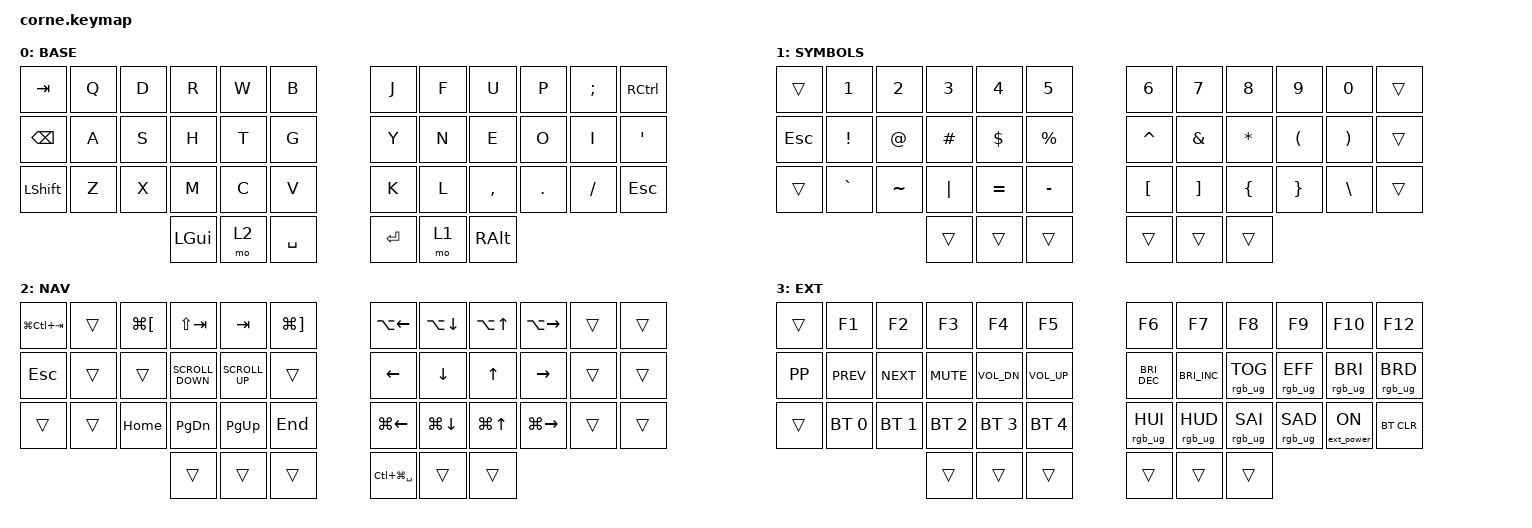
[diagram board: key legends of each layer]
#include <behaviors.dtsi>
#include <dt-bindings/zmk/bt.h>
#include <dt-bindings/zmk/ext_power.h>
#include <dt-bindings/zmk/keys.h>
#include <dt-bindings/zmk/rgb.h>

&led_strip {
    chain-length = <27>;

    // 21 backlight + 6 glowlight
};

#define TAPPING_TERM 200

/ {
    behaviors {
        /*
    * td_lock groups locking functions into one key:
    *  - tap once to lock the host
    *  - tap twice to put the host to sleep
    */

        td_lock: tap_dance_lock {
            compatible = "zmk,behavior-tap-dance";
            label = "TAP_DANCE_LOCK";
            #binding-cells = <0>;
            tapping-term-ms = <TAPPING_TERM>;
            bindings = <&kp LG(LC(Q))>, <&kp LG(LA(C_EJECT))>;
        };
    };

    combos {
        compatible = "zmk,combos";

        Clear_BLE_Profile {
            bindings = <&bt BT_CLR>;
            key-positions = <0 41 5>;
            layers = <0>;
        };

        // Clearing every profile is unrecoverable without re-pairing each host,
        // so it needs three keys held on EXT rather than a single keypress.
        Clear_All_BLE_Profiles {
            bindings = <&bt BT_CLR_ALL>;
            key-positions = <0 5 11>;
            layers = <3>;
        };

        Space {
            bindings = <&kp SPACE>;
            key-positions = <29 28>;
            layers = <0>;
        };

        Enter {
            bindings = <&kp ENTER>;
            key-positions = <17 16>;
            layers = <0>;
        };

        Capslock {
            bindings = <&kp CLCK>;
            key-positions = <5 6>;
            layers = <0>;
        };
    };

    macros {
        git_status: git_status {
            compatible = "zmk,behavior-macro";
            #binding-cells = <0>;
            bindings = <&kp G &kp I &kp T &kp SPACE &kp S &kp T &kp A &kp T &kp U &kp S>;
            label = "GIT_STATUS";
        };

        git_commit_all: git_commit_all {
            compatible = "zmk,behavior-macro";
            #binding-cells = <0>;
            bindings = <&kp G &kp I &kp T &kp SPACE &kp C &kp O &kp M &kp M &kp I &kp T &kp SPACE &kp MINUS &kp A &kp MINUS &kp M &kp SPACE &kp DQT &kp DQT &kp LEFT_ARROW>;
            label = "GIT_COMMIT";
        };
    };

    keymap {
        compatible = "zmk,keymap";

        base_layer {
            label = "BASE";
            bindings = <
&kp TAB         &kp Q  &kp D  &kp R         &kp W  &kp B        &kp J      &kp F  &kp U          &kp P    &kp SEMICOLON  &kp RCTRL
&kp BACKSPACE   &kp A  &kp S  &kp H         &kp T  &kp G        &kp Y      &kp N  &kp E          &kp O    &kp I          &kp SINGLE_QUOTE
&kp LEFT_SHIFT  &kp Z  &kp X  &kp M         &kp C  &kp V        &kp K      &kp L  &kp COMMA      &kp DOT  &kp SLASH      &kp ESC
                              &kp LEFT_GUI  &mo 2  &kp SPACE    &kp ENTER  &mo 1  &kp RIGHT_ALT
            >;
        };

        symbols_layer {
            label = "SYMBOLS";
            bindings = <
&trans   &kp N1     &kp N2     &kp N3    &kp N4     &kp N5       &kp N6            &kp N7             &kp N8          &kp N9           &kp N0         &trans
&kp ESC  &kp EXCL   &kp AT     &kp HASH  &kp DLLR   &kp PRCNT    &kp CARET         &kp AMPS           &kp ASTERISK    &kp LPAR         &kp RPAR       &trans
&trans   &kp GRAVE  &kp TILDE  &kp PIPE  &kp EQUAL  &kp MINUS    &kp LEFT_BRACKET  &kp RIGHT_BRACKET  &kp LEFT_BRACE  &kp RIGHT_BRACE  &kp BACKSLASH  &trans
                               &trans    &trans     &trans       &trans            &trans             &trans
            >;
        };

        nav_layer {
            label = "NAV";
            bindings = <
&kp LG(LC(TAB))  &trans  &kp LG(LEFT_BRACKET)  &kp LS(TAB)        &kp TAB          &kp LG(RIGHT_BRACKET)    &kp LA(LEFT)       &kp LA(DOWN)  &kp LA(UP)  &kp LA(RIGHT)  &trans  &trans
&kp ESC          &trans  &trans                &kp K_SCROLL_DOWN  &kp K_SCROLL_UP  &trans                   &kp LEFT           &kp DOWN      &kp UP      &kp RIGHT      &trans  &trans
&trans           &trans  &kp HOME              &kp PG_DN          &kp PG_UP        &kp END                  &kp LG(LEFT)       &kp LG(DOWN)  &kp LG(UP)  &kp LG(RIGHT)  &trans  &trans
                                               &trans             &trans           &trans                   &kp LC(LG(SPACE))  &trans        &trans
            >;
        };

        extended_layer {
            label = "EXT";
            bindings = <
&trans          &kp F1        &kp F2        &kp F3        &kp F4        &kp F5          &kp F6                &kp F7                &kp F8           &kp F9           &kp F10          &kp F12
&kp K_PP        &kp K_PREV    &kp K_NEXT    &kp K_MUTE    &kp C_VOL_DN  &kp C_VOL_UP    &kp C_BRIGHTNESS_DEC  &kp C_BRIGHTNESS_INC  &rgb_ug RGB_TOG  &rgb_ug RGB_EFF  &rgb_ug RGB_BRI  &rgb_ug RGB_BRD
&trans          &bt BT_SEL 0  &bt BT_SEL 1  &bt BT_SEL 2  &bt BT_SEL 3  &bt BT_SEL 4    &rgb_ug RGB_HUI       &rgb_ug RGB_HUD       &rgb_ug RGB_SAI  &rgb_ug RGB_SAD  &ext_power EP_ON  &bt BT_CLR
                                            &trans        &trans        &trans          &trans                &trans                &trans
            >;
        };
    };

    conditional_layers {
        compatible = "zmk,conditional-layers";

        Activate_EXT {
            if-layers = <1 2>;
            then-layer = <3>;
        };
    };
};
